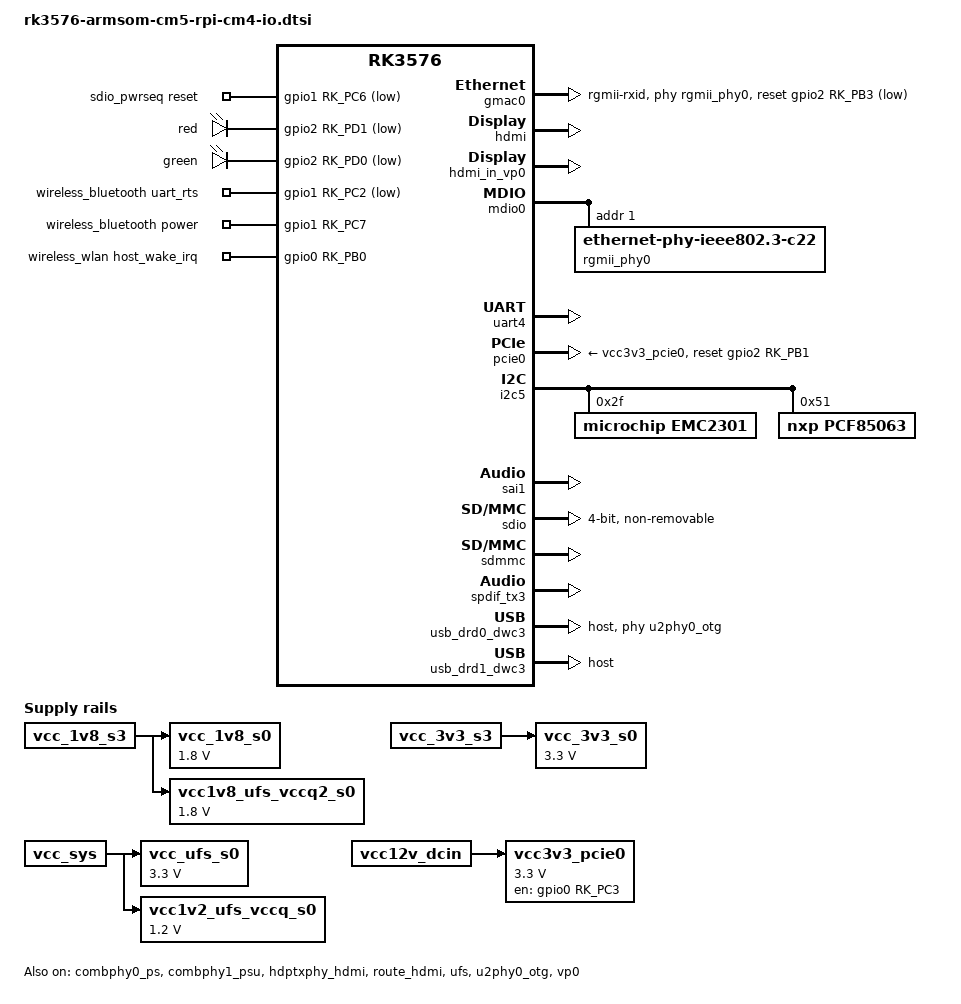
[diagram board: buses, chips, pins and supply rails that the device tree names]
// SPDX-License-Identifier: (GPL-2.0+ OR MIT)
/*
 * Copyright (c) 2024 Rockchip Electronics Co., Ltd.
 *
 */

#include <dt-bindings/usb/pd.h>
#include <dt-bindings/leds/common.h>
#include "rk3576.dtsi"
#include "rk3576-evb.dtsi"
#include "rk3576-rk806.dtsi"

/ {

	pdmics: dummy-codec {
		status = "disabled";
		compatible = "rockchip,dummy-codec";
		#sound-dai-cells = <0>;
	};

	pdm_mic_array: pdm-mic-array {
		status = "disabled";
		compatible = "simple-audio-card";
		simple-audio-card,name = "rockchip,pdm-mic-array";
		simple-audio-card,cpu {
			sound-dai = <&pdm1>;
		};
		simple-audio-card,codec {
			sound-dai = <&pdmics>;
		};
	};

	vcc_1v8_s0: vcc-1v8-s0 {
		compatible = "regulator-fixed";
		regulator-name = "vcc_1v8_s0";
		regulator-boot-on;
		regulator-always-on;
		regulator-min-microvolt = <1800000>;
		regulator-max-microvolt = <1800000>;
		vin-supply = <&vcc_1v8_s3>;
	};

	vcc_3v3_s0: vcc-3v3-s0 {
		compatible = "regulator-fixed";
		regulator-name = "vcc_3v3_s0";
		regulator-boot-on;
		regulator-always-on;
		regulator-min-microvolt = <3300000>;
		regulator-max-microvolt = <3300000>;
		vin-supply = <&vcc_3v3_s3>;
	};

	vcc_ufs_s0: vcc-ufs-s0 {
		compatible = "regulator-fixed";
		regulator-name = "vcc_ufs_s0";
		regulator-boot-on;
		regulator-always-on;
		regulator-min-microvolt = <3300000>;
		regulator-max-microvolt = <3300000>;
		vin-supply = <&vcc_sys>;
	};

	vcc1v8_ufs_vccq2_s0: vcc1v8-ufs-vccq2-s0 {
		compatible = "regulator-fixed";
		regulator-name = "vcc1v8_ufs_vccq2_s0";
		regulator-boot-on;
		regulator-always-on;
		regulator-min-microvolt = <1800000>;
		regulator-max-microvolt = <1800000>;
		vin-supply = <&vcc_1v8_s3>;
	};

	vcc1v2_ufs_vccq_s0: vcc1v2-ufs-vccq-s0 {
		compatible = "regulator-fixed";
		regulator-name = "vcc1v2_ufs_vccq_s0";
		regulator-boot-on;
		regulator-always-on;
		regulator-min-microvolt = <1200000>;
		regulator-max-microvolt = <1200000>;
		vin-supply = <&vcc_sys>;
	};

	sdio_pwrseq: sdio-pwrseq {
		compatible = "mmc-pwrseq-simple";
		pinctrl-names = "default";
		pinctrl-0 = <&wifi_poweren_gpio>;

		/*
		 * On the module itself this is one of these (depending
		 * on the actual card populated):
		 * - SDIO_RESET_L_WL_REG_ON
		 * - PDN (power down when low)
		 */
		post-power-on-delay-ms = <200>;
		reset-gpios = <&gpio1 RK_PC6 GPIO_ACTIVE_LOW>;
		status = "okay";
	};

	vcc3v3_pcie0: vcc3v3-pcie0 {
		compatible = "regulator-fixed";
		regulator-name = "vcc3v3_pcie0";
		regulator-min-microvolt = <3300000>;
		regulator-max-microvolt = <3300000>;
		enable-active-high;
		regulator-boot-on;
		regulator-always-on;
		gpios = <&gpio0 RK_PC3 GPIO_ACTIVE_HIGH>;
		startup-delay-us = <5000>;
		vin-supply = <&vcc12v_dcin>;
	};

	leds: leds {
		compatible = "gpio-leds";
		work_led: work {
			label = "red";
			gpios = <&gpio2 RK_PD1 GPIO_ACTIVE_LOW>;
			linux,default-trigger = "default-on";
		};

		active_led: active {
			label = "green";
			gpios = <&gpio2 RK_PD0 GPIO_ACTIVE_LOW>;
			linux,default-trigger = "heartbeat";
			default-state = "on";
			pinctrl-names = "default";
			pinctrl-0 = <&led_heartbeat>;
		};
	};

		wireless_bluetooth: wireless-bluetooth {
		compatible = "bluetooth-platdata";
		//wifi-bt-power-toggle;
		uart_rts_gpios = <&gpio1 RK_PC2 GPIO_ACTIVE_LOW>;
		pinctrl-names = "default", "rts_gpio";
		pinctrl-0 = <&uart4m1_rtsn>;
		pinctrl-1 = <&uart4m1_rts_gpio>;
		BT,power_gpio = <&gpio1 RK_PC7 GPIO_ACTIVE_HIGH>;
		//BT,reset_gpio    = <&gpio3 RK_PC3 GPIO_ACTIVE_HIGH>;
		//BT,wake_host_irq = <&gpio1 RK_PC2 GPIO_ACTIVE_HIGH>;
		status = "okay";
	};

	wireless_wlan: wireless-wlan {
		compatible = "wlan-platdata";
		wifi_chip_type = "rtl8852bs";
        clocks = <&hym8563>; 
        clock-names = "ext_clock";
		pinctrl-names = "default";
		pinctrl-0 = <&wifi_host_wake_irq>;
		WIFI,host_wake_irq = <&gpio0 RK_PB0 GPIO_ACTIVE_HIGH>;
		status = "okay";
	};

};

&combphy0_ps {
	status = "okay";
};

&combphy1_psu {
	status = "okay";
};

&gmac0 {
	/* Use rgmii-rxid mode to disable rx delay inside Soc */
	phy-mode = "rgmii-rxid";
	clock_in_out = "output";

	snps,reset-gpio = <&gpio2 RK_PB3 GPIO_ACTIVE_LOW>;
	snps,reset-active-low;
	/* Reset time is 20ms, 100ms for rtl8211f */
	snps,reset-delays-us = <0 20000 100000>;

	pinctrl-names = "default";
	pinctrl-0 = <&eth0m0_miim
		     &eth0m0_tx_bus2
		     &eth0m0_rx_bus2
		     &eth0m0_rgmii_clk
		     &eth0m0_rgmii_bus
		     &ethm0_clk0_25m_out>;

	tx_delay = <0x21>;
	/* rx_delay = <0x3f>; */

	phy-handle = <&rgmii_phy0>;
	status = "okay";
};

&hdmi {
	status = "okay";
	rockchip,sda-falling-delay-ns = <360>;
};

&hdmi_in_vp0 {
	status = "okay";
};

&hdptxphy_hdmi {
	status = "okay";
};

&mdio0 {
	rgmii_phy0: phy@1 {
		compatible = "ethernet-phy-ieee802.3-c22";
		reg = <0x1>;
		clocks = <&cru REFCLKO25M_GMAC0_OUT>;
	};
};

&uart4 {
	status = "okay";
	pinctrl-names = "default";
	pinctrl-0 = <&uart4m1_xfer &uart4m1_ctsn>;
};

&pcie0 {
	reset-gpios = <&gpio2 RK_PB1 GPIO_ACTIVE_HIGH>;
	vpcie3v3-supply = <&vcc3v3_pcie0>;
	status = "okay";
};

&pdm1 {
	status = "disabled";
	pinctrl-names = "default";
	pinctrl-0 = <&pdm1m1_clk0
		     &pdm1m1_clk1
		     &pdm1m1_sdi0
		     &pdm1m1_sdi1
		     &pdm1m1_sdi2
		     &pdm1m1_sdi3>;
};

&i2c5 {
	status = "okay";
	pinctrl-names = "default";
	pinctrl-0 = <&i2c5m3_xfer>;

	emc2301: emc2301@2f {
		status = "okay";
		compatible = "microchip,emc2301";
		reg = <0x2f>;
		#address-cells = <1>;
		#size-cells = <0>;
		#cooling-cells = <2>;
		microchip,pwm-separate;
		microchip,cooling-levels = <10>;
		channel@0 {
			reg = <0>;
			pwm-min = <0>;
		};
	};

	pcf85063: pcf85063@51 {
		compatible = "nxp,pcf85063";
		status = "okay";
		reg = <0x51>;
		quartz-load-femtofarads = <12500>;
	};
};

&pinctrl {
	gpio {
		led_heartbeat: led-heartbeat {
			rockchip,pins = <2 RK_PD0 RK_FUNC_GPIO &pcfg_pull_none>;
		};
	};
	wireless-bluetooth {
		uart4m1_rts_gpio: uart4m1-rts-gpio {
			rockchip,pins = <1 RK_PC2 RK_FUNC_GPIO &pcfg_pull_none>;
		};
	};

	wireless-wlan {
		wifi_host_wake_irq: wifi-host-wake-irq {
			rockchip,pins = <0 RK_PB0 RK_FUNC_GPIO &pcfg_pull_down>;
		};

		wifi_poweren_gpio: wifi-poweren-gpio {
			rockchip,pins = <1 RK_PC6 RK_FUNC_GPIO &pcfg_pull_up>;
		};
	};
};

&route_hdmi {
	status = "okay";
	connect = <&vp0_out_hdmi>;
};

&sai1 {
	status = "okay";
	pinctrl-names = "default";
	pinctrl-0 = <&sai1m0_lrck
		     &sai1m0_sclk
		     &sai1m0_sdi0
		     &sai1m0_sdo0>;
};

&sdio {
	max-frequency = <100000000>;
	no-sd;
	no-mmc;
	bus-width = <4>;
	disable-wp;
	cap-sd-highspeed;
	cap-sdio-irq;
	keep-power-in-suspend;
	mmc-pwrseq = <&sdio_pwrseq>;
	non-removable;
	pinctrl-names = "default";
	pinctrl-0 = <&sdmmc1m0_bus4 &sdmmc1m0_clk &sdmmc1m0_cmd>;
	sd-uhs-sdr104;
	status = "okay";
};

&sdmmc {
	status = "okay";
};

&spdif_tx3 {
	status = "okay";
};

&ufs {
	status = "okay";
};

&u2phy0_otg {
	rockchip,sel-pipe-phystatus;
	rockchip,dis-u2-susphy;
	status = "okay";
};


// &usbdp_phy {
// 	maximum-speed = "high-speed";
// 	rockchip,dp-lane-mux = < 0 1 2 3 >;
// 	status = "okay";
// };

&usb_drd0_dwc3 {
	phys = <&u2phy0_otg>;
	phy-names = "usb2-phy";
	dr_mode = "host";
	maximum-speed = "high-speed";
	snps,dis_u2_susphy_quirk;
	snps,usb2-lpm-disable;
	status = "okay";
};

&usb_drd1_dwc3 {
	dr_mode = "host";
	status = "okay";
};

&vp0 {
	status = "okay";
};
